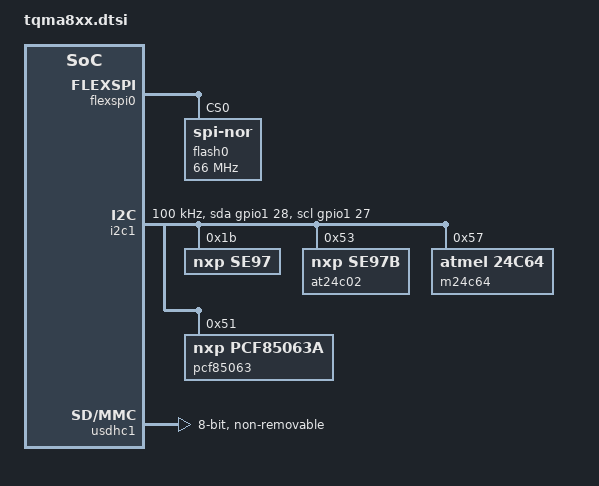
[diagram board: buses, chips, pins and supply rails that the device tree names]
// SPDX-License-Identifier: GPL-2.0-or-later OR MIT
/*
 * Copyright 2018 - 2021 TQ-Systems GmbH
 */

/ {
	reserved-memory {
		#address-cells = <2>;
		#size-cells = <2>;
		ranges;

		/*
		 * global autoconfigured region for contiguous allocations
		 * must not exceed memory size and region
		 */
		linux,cma {
			compatible = "shared-dma-pool";
			reusable;
			size = <0 0x20000000>;
			alloc-ranges = <0 0x96000000 0 0x30000000>;
			linux,cma-default;
		};
	};
};

&iomuxc {
	pinctrl_lpi2c1: lpi2c1grp {
		fsl,pins = <
			SC_P_MIPI_DSI0_GPIO0_00_ADMA_I2C1_SCL	0x06000021
			SC_P_MIPI_DSI0_GPIO0_01_ADMA_I2C1_SDA	0x06000021
		>;
	};

	pinctrl_lpi2c1gpio: lpi2c1gpiogrp {
		fsl,pins = <
			SC_P_MIPI_DSI0_GPIO0_00_LSIO_GPIO1_IO27	0x06000021
			SC_P_MIPI_DSI0_GPIO0_01_LSIO_GPIO1_IO28	0x06000021
		>;
	};

	pinctrl_usdhc1: usdhc1grp {
		fsl,pins = <
			SC_P_EMMC0_CLK_CONN_EMMC0_CLK		0x06000041
			SC_P_EMMC0_CMD_CONN_EMMC0_CMD		0x00000021
			SC_P_EMMC0_DATA0_CONN_EMMC0_DATA0	0x00000021
			SC_P_EMMC0_DATA1_CONN_EMMC0_DATA1	0x00000021
			SC_P_EMMC0_DATA2_CONN_EMMC0_DATA2	0x00000021
			SC_P_EMMC0_DATA3_CONN_EMMC0_DATA3	0x00000021
			SC_P_EMMC0_DATA4_CONN_EMMC0_DATA4	0x00000021
			SC_P_EMMC0_DATA5_CONN_EMMC0_DATA5	0x00000021
			SC_P_EMMC0_DATA6_CONN_EMMC0_DATA6	0x00000021
			SC_P_EMMC0_DATA7_CONN_EMMC0_DATA7	0x00000021
			SC_P_EMMC0_STROBE_CONN_EMMC0_STROBE	0x00000041
		>;
	};

	pinctrl_usdhc1_100mhz: usdhc1grp100mhz {
		fsl,pins = <
			SC_P_EMMC0_CLK_CONN_EMMC0_CLK		0x06000040
			SC_P_EMMC0_CMD_CONN_EMMC0_CMD		0x00000020
			SC_P_EMMC0_DATA0_CONN_EMMC0_DATA0	0x00000020
			SC_P_EMMC0_DATA1_CONN_EMMC0_DATA1	0x00000020
			SC_P_EMMC0_DATA2_CONN_EMMC0_DATA2	0x00000020
			SC_P_EMMC0_DATA3_CONN_EMMC0_DATA3	0x00000020
			SC_P_EMMC0_DATA4_CONN_EMMC0_DATA4	0x00000020
			SC_P_EMMC0_DATA5_CONN_EMMC0_DATA5	0x00000020
			SC_P_EMMC0_DATA6_CONN_EMMC0_DATA6	0x00000020
			SC_P_EMMC0_DATA7_CONN_EMMC0_DATA7	0x00000020
			SC_P_EMMC0_STROBE_CONN_EMMC0_STROBE	0x00000040
		>;
	};

	pinctrl_usdhc1_200mhz: usdhc1grp200mhz {
		fsl,pins = <
			SC_P_EMMC0_CLK_CONN_EMMC0_CLK		0x06000040
			SC_P_EMMC0_CMD_CONN_EMMC0_CMD		0x00000020
			SC_P_EMMC0_DATA0_CONN_EMMC0_DATA0	0x00000020
			SC_P_EMMC0_DATA1_CONN_EMMC0_DATA1	0x00000020
			SC_P_EMMC0_DATA2_CONN_EMMC0_DATA2	0x00000020
			SC_P_EMMC0_DATA3_CONN_EMMC0_DATA3	0x00000020
			SC_P_EMMC0_DATA4_CONN_EMMC0_DATA4	0x00000020
			SC_P_EMMC0_DATA5_CONN_EMMC0_DATA5	0x00000020
			SC_P_EMMC0_DATA6_CONN_EMMC0_DATA6	0x00000020
			SC_P_EMMC0_DATA7_CONN_EMMC0_DATA7	0x00000020
			SC_P_EMMC0_STROBE_CONN_EMMC0_STROBE	0x00000040
		>;
	};

	pinctrl_flexspi0: flexspi0grp {
		fsl,pins = <
			SC_P_QSPI0A_DATA0_LSIO_QSPI0A_DATA0	0x0600004d
			SC_P_QSPI0A_DATA1_LSIO_QSPI0A_DATA1	0x0600004d
			SC_P_QSPI0A_DATA2_LSIO_QSPI0A_DATA2	0x0600004d
			SC_P_QSPI0A_DATA3_LSIO_QSPI0A_DATA3	0x0600004d
			SC_P_QSPI0A_DQS_LSIO_QSPI0A_DQS		0x0600004d
			SC_P_QSPI0A_SS0_B_LSIO_QSPI0A_SS0_B	0x0600004d
			SC_P_QSPI0A_SCLK_LSIO_QSPI0A_SCLK	0x0600004d
			SC_P_QSPI0B_SCLK_LSIO_QSPI0B_SCLK	0x0600004d
			SC_P_QSPI0B_DATA0_LSIO_QSPI0B_DATA0	0x0600004d
			SC_P_QSPI0B_DATA1_LSIO_QSPI0B_DATA1	0x0600004d
			SC_P_QSPI0B_DATA2_LSIO_QSPI0B_DATA2	0x0600004d
			SC_P_QSPI0B_DATA3_LSIO_QSPI0B_DATA3	0x0600004d
			SC_P_QSPI0B_DQS_LSIO_QSPI0B_DQS		0x0600004d
			SC_P_QSPI0B_SS0_B_LSIO_QSPI0B_SS0_B	0x0600004d
			SC_P_QSPI0B_SS1_B_LSIO_QSPI0B_SS1_B	0x0600004d
		>;
	};
};

&flexspi0 {
	pinctrl-names = "default";
	pinctrl-0 = <&pinctrl_flexspi0>;
	status = "okay";

	flash0: flash@0 {
		reg = <0>;
		#address-cells = <1>;
		#size-cells = <1>;
		compatible = "jedec,spi-nor";
		spi-max-frequency = <66000000>;
		spi-nor,ddr-quad-read-dummy = <8>;
		spi-tx-bus-width = <4>;
		spi-rx-bus-width = <4>;
		macronix,dsr = <0x3>;
	};
};

&i2c1 {
	#address-cells = <1>;
	#size-cells = <0>;
	clock-frequency = <100000>;
	pinctrl-names = "default", "gpio";
	pinctrl-0 = <&pinctrl_lpi2c1>;
	pinctrl-1 = <&pinctrl_lpi2c1gpio>;
	scl-gpios = <&gpio1 27 (GPIO_ACTIVE_HIGH | GPIO_OPEN_DRAIN)>;
	sda-gpios = <&gpio1 28 (GPIO_ACTIVE_HIGH | GPIO_OPEN_DRAIN)>;
	status = "okay";

	/* NXP SE97BTP with temperature sensor + eeprom */
	se97: temperature-sensor-eeprom@1b {
		compatible = "nxp,se97", "jedec,jc-42.4-temp";
		reg = <0x1b>;
	};

	at24c02: eeprom@53 {
		compatible = "nxp,se97b", "atmel,24c02";
		reg = <0x53>;
		pagesize = <16>;
	};

	m24c64: eeprom@57 {
		compatible = "atmel,24c64";
		reg = <0x57>;
		pagesize = <32>;
	};

	pcf85063: rtc@51 {
		compatible = "nxp,pcf85063a";
		reg = <0x51>;
	};
};

&usdhc1 {
	pinctrl-names = "default", "state_100mhz", "state_200mhz";
	pinctrl-0 = <&pinctrl_usdhc1>;
	pinctrl-1 = <&pinctrl_usdhc1_100mhz>;
	pinctrl-2 = <&pinctrl_usdhc1_200mhz>;
	bus-width = <8>;
	no-sd;
	no-sdio;
	non-removable;
	status = "okay";
};
